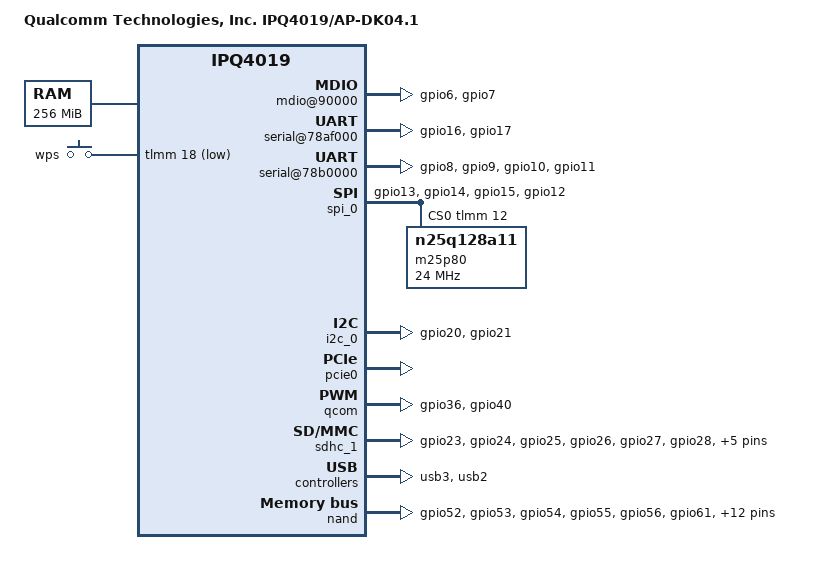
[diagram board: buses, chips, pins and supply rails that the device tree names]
/* Copyright (c) 2015 - 2016, The Linux Foundation. All rights reserved.
 *
 * Permission to use, copy, modify, and/or distribute this software for any
 * purpose with or without fee is hereby granted, provided that the above
 * copyright notice and this permission notice appear in all copies.
 *
 * THE SOFTWARE IS PROVIDED "AS IS" AND THE AUTHOR DISCLAIMS ALL WARRANTIES
 * WITH REGARD TO THIS SOFTWARE INCLUDING ALL IMPLIED WARRANTIES OF
 * MERCHANTABILITY AND FITNESS. IN NO EVENT SHALL THE AUTHOR BE LIABLE FOR
 * ANY SPECIAL, DIRECT, INDIRECT, OR CONSEQUENTIAL DAMAGES OR ANY DAMAGES
 * WHATSOEVER RESULTING FROM LOSS OF USE, DATA OR PROFITS, WHETHER IN AN
 * ACTION OF CONTRACT, NEGLIGENCE OR OTHER TORTIOUS ACTION, ARISING OUT OF
 * OR IN CONNECTION WITH THE USE OR PERFORMANCE OF THIS SOFTWARE.
 *
 */

#include "qcom-ipq4019.dtsi"
#include "qcom-ipq4019-mhi.dtsi"
#include <dt-bindings/input/input.h>
#include <dt-bindings/gpio/gpio.h>

/ {
	model = "Qualcomm Technologies, Inc. IPQ4019/AP-DK04.1";
	compatible = "qcom,ipq4019";

	memory {
		device_type = "memory";
		reg = <0x80000000 0x10000000>; /* 256MB */
	};

	chosen {
		bootargs-append = " clk_ignore_unused";
	};

	aliases {
		sdhc1 = &sdhc_1;
	};

	soc {
		pinctrl@0x01000000 {
			serial_0_pins: serial0_pinmux {
				mux {
					pins = "gpio16", "gpio17";
					function = "blsp_uart0";
					bias-disable;
				};
			};

			led_0_pins: led0_pinmux {
				mux_1 {
					pins = "gpio36";
					function = "led0";
					bias-pull-down;
				};
				mux_2 {
					pins = "gpio40";
					function = "led4";
					bias-pull-down;
				};
			};

			serial_1_pins: serial1_pinmux {
				mux {
					pins = "gpio8", "gpio9",
						"gpio10", "gpio11";
					function = "blsp_uart1";
					bias-disable;
				};
			};

			spi_0_pins: spi_0_pinmux {
				pinmux {
					function = "blsp_spi0";
					pins = "gpio13", "gpio14", "gpio15";
					bias-disable;
				};
				pinmux_cs {
					function = "gpio";
					pins = "gpio12";
					bias-disable;
					output-high;
				};
			};

			i2c_0_pins: i2c_0_pinmux {
				mux {
					pins = "gpio20", "gpio21";
					function = "blsp_i2c0";
					bias-disable;
				};
			};

			sd_0_pins: sd_0_pinmux {
				sd0 {
					pins = "gpio23";
					function = "sdio0";
					pull-res = <RES_35_KOHM>;
					drive-type = <DRV_TYPE_C>;
					vm-enable;
				};
				sd1 {
					pins = "gpio24";
					function = "sdio1";
					pull-res = <RES_35_KOHM>;
					drive-type = <DRV_TYPE_C>;
					vm-enable;
				};
				sd2 {
					pins = "gpio25";
					function = "sdio2";
					pull-res = <RES_35_KOHM>;
					drive-type = <DRV_TYPE_C>;
					vm-enable;
				};
				sd3 {
					pins = "gpio26";
					function = "sdio3";
					pull-res = <RES_35_KOHM>;
					drive-type = <DRV_TYPE_C>;
					vm-enable;
				};
				sdclk {
					pins = "gpio27";
					function = "sdio_clk";
					pull-res = <RES_35_KOHM>;
					drive-type = <DRV_TYPE_A>;
					vm-enable;
				};
				sdcmd {
					pins = "gpio28";
					function = "sdio_cmd";
					pull-res = <RES_35_KOHM>;
					drive-type = <DRV_TYPE_C>;
					vm-enable;
				};
				sd4 {
					pins = "gpio29";
					function = "sdio4";
					pull-res = <RES_35_KOHM>;
					drive-type = <DRV_TYPE_C>;
					vm-enable;
				};
				sd5 {
					pins = "gpio30";
					function = "sdio5";
					pull-res = <RES_35_KOHM>;
					drive-type = <DRV_TYPE_C>;
					vm-enable;
				};
				sd6 {
					pins = "gpio31";
					function = "sdio6";
					pull-res = <RES_35_KOHM>;
					drive-type = <DRV_TYPE_C>;
					vm-enable;
				};
				sd7 {
					pins = "gpio32";
					function = "sdio7";
					pull-res = <RES_35_KOHM>;
					drive-type = <DRV_TYPE_C>;
					vm-enable;
				};
			};

			sd_1_pins: sd_1_pinmux {
				sd0 {
					pins = "gpio23";
					function = "sdio0";
					pull-res = <RES_35_KOHM>;
					drive-type = <DRV_TYPE_D>;
					vm-enable;
				};
				sd1 {
					pins = "gpio24";
					function = "sdio1";
					pull-res = <RES_35_KOHM>;
					drive-type = <DRV_TYPE_D>;
					vm-enable;
				};
				sd2 {
					pins = "gpio25";
					function = "sdio2";
					pull-res = <RES_35_KOHM>;
					drive-type = <DRV_TYPE_D>;
					vm-enable;
				};
				sd3 {
					pins = "gpio26";
					function = "sdio3";
					pull-res = <RES_35_KOHM>;
					drive-type = <DRV_TYPE_D>;
					vm-enable;
				};
				sdclk {
					pins = "gpio27";
					function = "sdio_clk";
					pull-res = <RES_35_KOHM>;
					drive-type = <DRV_TYPE_D>;
					vm-enable;
				};
				sdcmd {
					pins = "gpio28";
					function = "sdio_cmd";
					pull-res = <RES_35_KOHM>;
					drive-type = <DRV_TYPE_D>;
					vm-enable;
				};
				sd4 {
					pins = "gpio29";
					function = "sdio4";
					pull-res = <RES_35_KOHM>;
					drive-type = <DRV_TYPE_D>;
					vm-enable;
				};
				sd5 {
					pins = "gpio30";
					function = "sdio5";
					pull-res = <RES_35_KOHM>;
					drive-type = <DRV_TYPE_D>;
					vm-enable;
				};
				sd6 {
					pins = "gpio31";
					function = "sdio6";
					pull-res = <RES_35_KOHM>;
					drive-type = <DRV_TYPE_D>;
					vm-enable;
				};
				sd7 {
					pins = "gpio32";
					function = "sdio7";
					pull-res = <RES_35_KOHM>;
					drive-type = <DRV_TYPE_D>;
					vm-enable;
				};
			};
			ts_0_pins: ts_0_pinmux {
				mux_1 {
					pins = "gpio34";
					output-high;
				};
				mux_2 {
					pins= "gpio35";
					input-enable;
					bias-pull-up;
				};
			};

			mdio_pins: mdio_pinmux {
				mux_1 {
					pins = "gpio6";
					function = "mdio0";
					bias-pull-up;
				};
				mux_2 {
					pins = "gpio7";
					function = "mdc";
					bias-pull-up;
				};
			};

			nand_pins: nand_pins {

				mux_1 {
					pins = "gpio52", "gpio53", "gpio54",
						"gpio55", "gpio56", "gpio61",
						"gpio62", "gpio63", "gpio69";
					function = "qpic_pad";
					bias-disable;
				};

				mux_2 {
					pins = "gpio67";
					function = "qpic_pad0";
					bias-disable;
				};

				mux_3 {
					pins = "gpio64";
					function = "qpic_pad1";
					bias-disable;
				};

				mux_4 {
					pins = "gpio65";
					function = "qpic_pad2";
					bias-disable;
				};

				mux_5 {
					pins = "gpio66";
					function = "qpic_pad3";
					bias-disable;
				};

				mux_6 {
					pins = "gpio57";
					function = "qpic_pad4";
					bias-disable;
				};

				mux_7 {
					pins = "gpio58";
					function = "qpic_pad5";
					bias-disable;
				};

				mux_8 {
					pins = "gpio59";
					function = "qpic_pad6";
					bias-disable;
				};

				mux_9 {
					pins = "gpio60";
					function = "qpic_pad7";
					bias-disable;
				};

				mux_10 {
					pins = "gpio68";
					function = "qpic_pad8";
					bias-disable;
				};

				pullups {
					pins = "gpio52", "gpio53", "gpio58",
						"gpio59";
					bias-pull-up;
				};

				pulldowns {
					pins = "gpio54", "gpio55", "gpio56",
						"gpio57", "gpio60", "gpio61",
						"gpio62", "gpio63", "gpio64",
						"gpio65", "gpio66", "gpio67",
						"gpio68", "gpio69";
					bias-pull-down;
				};
			};
		};

		mdio@90000 {
			status = "ok";
			pinctrl-0 = <&mdio_pins>;
			pinctrl-names = "default";
			phy-reset-gpio = <&tlmm 47 0>;
			bias-disable;
		};

		serial@78af000 {
			pinctrl-0 = <&serial_0_pins>;
			pinctrl-names = "default";
			status = "ok";
		};

		serial@78b0000 {
			pinctrl-0 = <&serial_1_pins>;
			pinctrl-names = "default";
			status = "ok";
		};

		spi_0: spi@78b5000 { /* BLSP1 QUP1 */
			pinctrl-0 = <&spi_0_pins>;
			pinctrl-names = "default";
			status = "ok";
			cs-gpios = <&tlmm 12 0>;

			m25p80@0 {
				#address-cells = <1>;
				#size-cells = <1>;
				reg = <0>;
				compatible = "n25q128a11";
				linux,modalias = "m25p80", "n25q128a11";
				spi-max-frequency = <24000000>;
				use-default-sizes;
			};
		};

		i2c_0: i2c@78b7000 { /* BLSP1 QUP2 */
			pinctrl-0 = <&i2c_0_pins>;
			pinctrl-names = "default";
			status = "ok";

			lcd_ts: lcd_ts@40 {
				compatible = "qca,gsl1680_ts";
				reg = <0x40>;
				status = "disabled";
			};
		};

		pcie0: pci@40000000 {
			status = "ok";
			perst-gpio = <&tlmm 38 0x1>;
		};

		qcom: ledc@1937000  {
			status = "ok";
			pinctrl-0 = <&led_0_pins>;
			pinctrl-names = "default";
		};

		ess-switch@c000000 {
			switch_mac_mode = <0x0>; /* mac mode for RGMII RMII */
			switch_initvlas = <
				0x0007c 0x54 /* PORT0_STATUS */
			>;
			led_source@0 {
				led = <0x3>;     /*led number */
				source = <0x1>;  /*source id 1 */
				mode = "normal"; /*on,off,blink,normal */
				speed = "all";   /*10M,100M,1000M,all */
				freq = "auto";   /*2Hz,4Hz,8Hz,auto*/
			};
			led_source@1 {
				led = <0x4>;     /*led number */
				source = <0x4>;  /*source id 4 */
				mode = "normal"; /*on,off,blink,normal */
				speed = "all";   /*10M,100M,1000M,all */
				freq = "auto";   /*2Hz,4Hz,8Hz,auto*/
			};
			led_source@2 {
				led = <0x5>;     /*led number */
				source = <0x7>;  /*source id 7 */
				mode = "normal"; /*on,off,blink,normal */
				speed = "all";   /*10M,100M,1000M,all */
				freq = "auto";   /*2Hz,4Hz,8Hz,auto*/
			};
			led_source@3 {
				led = <0x6>;     /*led number */
				source = <0xa>;  /*source id 10 */
				mode = "normal"; /*on,off,blink,normal */
				speed = "all";   /*10M,100M,1000M,all */
				freq = "auto";   /*2Hz,4Hz,8Hz,auto*/
			};
			led_source@4 {
				led = <0x7>;     /*led number */
				source = <0xd>;  /*source id 13 */
				mode = "normal"; /*on,off,blink,normal */
				speed = "all";   /*10M,100M,1000M,all */
				freq = "auto";   /*2Hz,4Hz,8Hz,auto*/
			};
		};

		vccq_sd0: regulator@0 {
			compatible = "qcom,regulator-ipq40xx";
			regulator-name = "SD0 VccQ";
			regulator-min-microvolt = <1800000>;
			regulator-max-microvolt = <3000000>;
			states = <3000000 0x3
				1800000 0x1>;
			reg = <0x01948000 0x4>;
			mask = <0x3>;
		};

		sdhc_1: sdhci@7824000{
			status = "ok";
			qcom,bus-speed-mode = "HS200_1p8v", "DDR_1p8v";
			qcom,clk-rates = <400000 25000000 50000000 100000000 \
					 192000000>;
			pinctrl-0 = <&sd_0_pins>;
			pinctrl-1 = <&sd_1_pins>;
			pinctrl-names = "active", "sleep";
			vqmmc-supply = <&vccq_sd0>;
			cd-gpios = <&tlmm 22 0x1>;
			sd-ldo-gpios = <&tlmm 33 0x1>;
		};

		tcsr: tcsr@194b000 {
			status = "ok";
		};

		usb3_ss_phy: ssphy@0 {
			status = "ok";
		};

		usb3_hs_phy: hsphy@a6000 {
			status = "ok";
		};

		usb2_hs_phy: hsphy@a8000 {
			status = "ok";
		};

		usb3: usb3@8a00000 {
			status = "ok";
		};

		usb2: usb2@6000000 {
			status = "ok";
		};

		qpic_bam: dma@7984000{
			status = "ok";
		};

		nand: qpic-nand@79b0000 {
			pinctrl-0 = <&nand_pins>;
			pinctrl-names = "default";
			status = "ok";
		};

		gpio_keys {
			compatible = "gpio-keys";

			button@1 {
				label = "wps";
				linux,code = <KEY_WPS_BUTTON>;
				gpios = <&tlmm 18 GPIO_ACTIVE_LOW>;
				linux,input-type = <1>;
			};
		};

		wifi0: wifi@a000000 {
			wifi_led_num = <2>;         /* Wifi 2G */
			wifi_led_source = <0>;      /* source id 0 */
		};

		wifi1: wifi@a800000 {
			wifi_led_num = <1>;         /* Wifi 5G */
			wifi_led_source = <2>;      /* source id 2 */
		};

		qcom_mdss_qpic@7980000 {
			status = "ok";
		};

		qcom_mdss_qpic_panel {
			status = "ok";
		};
	};
};
